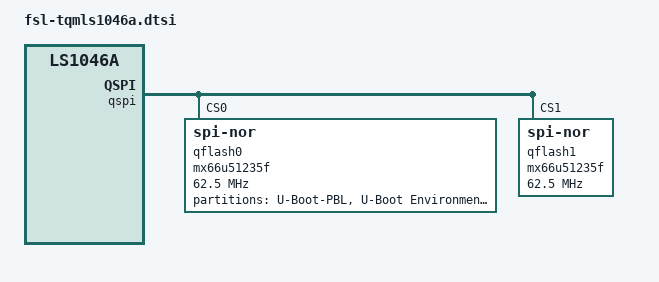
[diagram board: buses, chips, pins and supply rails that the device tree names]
// SPDX-License-Identifier: (GPL-2.0+ OR MIT)
/*
 * Device Tree Include file for LS1046A based SoM of TQ
 *
 * Copyright 2018 TQ-Systems GmbH
 */

#include "fsl-ls1046a.dtsi"
#include "fsl-tqmls10xxa.dtsi"

&qspi {
	num-cs = <2>;
	bus-num = <0>;
	status = "okay";
	fsl,qspi-has-second-chip;

	qflash0: mx66u51235f@0 {
		#address-cells = <1>;
		#size-cells = <1>;
		compatible = "jedec,spi-nor";
		spi-max-frequency = <62500000>;
		reg = <0>;

		partitions {
			compatible = "fixed-partitions";
			#address-cells = <1>;
			#size-cells = <1>;

			uboot@0 {
				label = "U-Boot-PBL";
				reg = <0x0 0xd0000>;
			};

			env@d0000 {
				label = "U-Boot Environment";
				reg = <0xd0000 0x10000>;
			};

			fman@e0000 {
				label = "Fman Microcode";
				reg = <0xe0000 0x10000>;
			};

			dtb@f0000 {
				label = "DTB";
				reg = <0xf0000 0x10000>;
			};

			linux@100000 {
				label = "Linux";
				reg = <0x100000 0x1700000>;
			};

			rootfs@1800000 {
				label = "RootFS";
				reg = <0x1800000 0x2800000>;
			};
		};
	};

	qflash1: mx66u51235f@1 {
		#address-cells = <1>;
		#size-cells = <1>;
		compatible = "jedec,spi-nor";
		spi-max-frequency = <62500000>;
		reg = <1>;
	};
};
